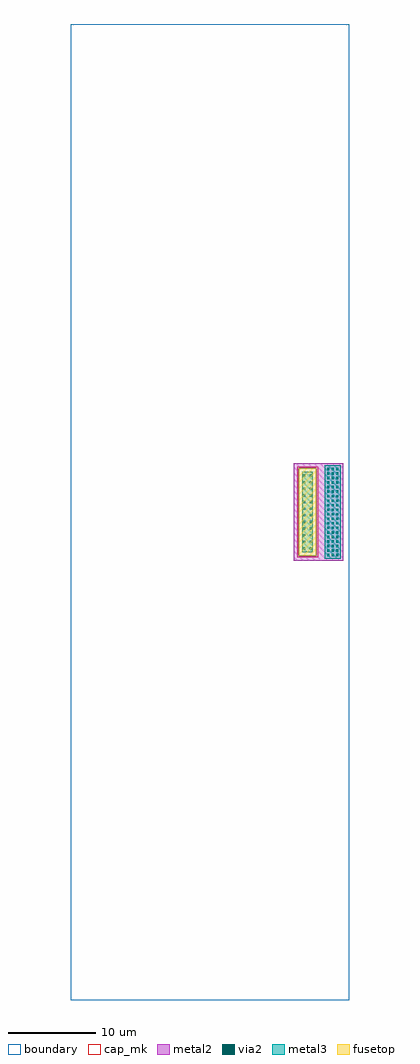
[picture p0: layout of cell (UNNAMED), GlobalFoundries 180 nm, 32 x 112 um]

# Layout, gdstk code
import gdstk
lib = gdstk.Library(unit=1e-6, precision=1e-09)
def R(c, l, rs):  # rectangles x0, y0, x1, y1
    for r in rs: c.add(gdstk.rectangle(r[:2], r[2:], *l))
def A(c, l, x, y, w, h, nx, ny, dx, dy):  # array of equal rectangles
    R(c, l, [(x+i*dx, y+j*dy, x+i*dx+w, y+j*dy+h) for i in range(nx) for j in range(ny)])
boundary = (0, 0)
metal2 = (36, 0)
via2 = (38, 0)
metal3 = (42, 0)
fusetop = (75, 0)
cap_mk = (117, 5)

c__unnamed_ = lib.new_cell('(UNNAMED)')
R(c__unnamed_, boundary, [(-28.45,-56,3.55,56)])
R(c__unnamed_, metal2, [(-2.845,-5.6,2.845,-5), (-2.845,-5,-2.245,5), (-0.245,-5,2.845,5), (-2.845,5,2.845,5.6)])
A(c__unnamed_, via2, 0.985, -5.07, 0.26, 0.26, 3, 20, 0.52, 0.52)
A(c__unnamed_, via2, -1.755, -4.31, 0.26, 0.26, 1, 12, 0, 0.76)
A(c__unnamed_, via2, -0.995, -4.31, 0.26, 0.26, 1, 12, 0, 0.76)
R(c__unnamed_, metal3, [(0.735,-5.345,2.535,5.345), (-1.845,-4.6,-0.645,4.6)])
R(c__unnamed_, fusetop, [(-2.245,-5,-0.245,5)])
R(c__unnamed_, cap_mk, [(-2.445,-5.2,-0.045,5.2)])

lib.write_gds('_UNNAMED_.gds')
